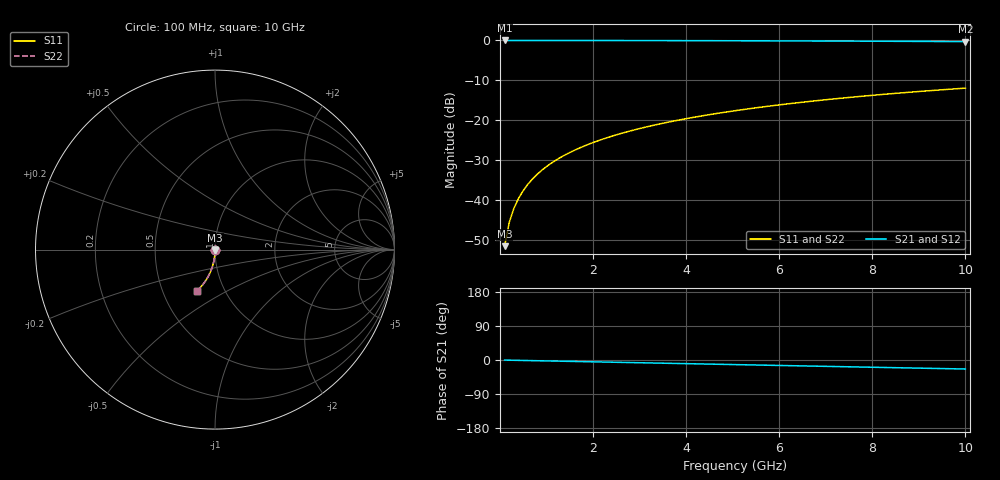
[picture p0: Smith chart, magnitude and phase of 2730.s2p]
# Hz S RI R 50.00
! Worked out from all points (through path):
!   100 points, 100 MHz to 10 GHz, reference 50 ohm
!   highest |S21| = 0.00 dB at 100 MHz (marker M1); lowest = -0.3 dB at 10 GHz (marker M2)
!   group delay of S21, straight-line fit = 6.62 ps
!   lowest |S11| = -51.5 dB at 100 MHz (marker M3), VSWR 1.01, Z = 50 - j0.263 ohm
!   |S11| at or under -10 dB: start of sweep to end of sweep
!   |S22| runs from -51.5 to -12.0 dB; largest |S21 - S12| = 0
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1e8  0.00028 -0.00263  0.9997 -0.0042  0.9997 -0.0042  0.00028 -0.00263
2e8  0.000246 -0.00526  0.9996 -0.0084  0.9996 -0.0084  0.000246 -0.00526
3e8  0.000189 -0.00789  0.9996 -0.0126  0.9996 -0.0126  0.000189 -0.00789
4e8  0.000109 -0.0105  0.9995 -0.0168  0.9995 -0.0168  0.000109 -0.0105
5e8  7.69e-06 -0.0132  0.9994 -0.021  0.9994 -0.021  7.69e-06 -0.0132
6e8  -0.000116 -0.0158  0.9992 -0.0252  0.9992 -0.0252  -0.000116 -0.0158
7e8  -0.000262 -0.0184  0.9991 -0.0294  0.9991 -0.0294  -0.000262 -0.0184
8e8  -0.00043 -0.021  0.9989 -0.0336  0.9989 -0.0336  -0.00043 -0.021
9e8  -0.000621 -0.0237  0.9987 -0.0378  0.9987 -0.0378  -0.000621 -0.0237
1.1e9  -0.00107 -0.0289  0.9982 -0.0462  0.9982 -0.0462  -0.00107 -0.0289
1.4e9  -0.0019 -0.0368  0.9972 -0.0587  0.9972 -0.0587  -0.0019 -0.0368
1.8e9  -0.00333 -0.0472  0.9957 -0.0755  0.9957 -0.0755  -0.00333 -0.0472
2.1e9  -0.00462 -0.055  0.9942 -0.088  0.9942 -0.088  -0.00462 -0.055
2.5e9  -0.00665 -0.0653  0.9919 -0.1046  0.9919 -0.1046  -0.00665 -0.0653
2.9e9  -0.00903 -0.0756  0.9893 -0.1211  0.9893 -0.1211  -0.00903 -0.0756
3.4e9  -0.0125 -0.0882  0.9855 -0.1417  0.9855 -0.1417  -0.0125 -0.0882
4.2e9  -0.0191 -0.1082  0.9781 -0.1743  0.9781 -0.1743  -0.0191 -0.1082
5.1e9  -0.0281 -0.13  0.968 -0.2103  0.968 -0.2103  -0.0281 -0.13
5.9e9  -0.0374 -0.1486  0.9576 -0.2417  0.9576 -0.2417  -0.0374 -0.1486
6.7e9  -0.0479 -0.1666  0.9459 -0.2724  0.9459 -0.2724  -0.0479 -0.1666
8.4e9  -0.0737 -0.2019  0.9167 -0.3349  0.9167 -0.3349  -0.0737 -0.2019
1e10  -0.1019 -0.2312  0.8847 -0.39  0.8847 -0.39  -0.1019 -0.2312
